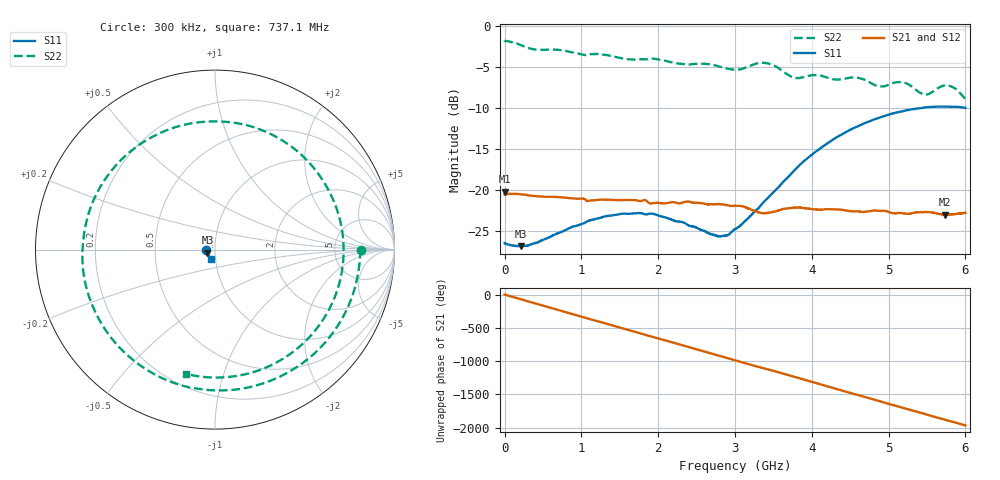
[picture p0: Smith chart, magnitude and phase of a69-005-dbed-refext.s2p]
!  3/18/2021  08:05:19
! Ref Plane: 13.288 mm
# MHZ S MA R  50
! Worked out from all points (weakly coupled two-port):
!   10001 points, 300 kHz to 6 GHz, reference 50 ohm
!   highest |S21| = -20.21 dB at 300 kHz (marker M1); lowest = -23.0 dB at 5.732 GHz (marker M2)
!   lowest |S11| = -26.8 dB at 214.5 MHz (marker M3), VSWR 1.10, Z = 45.9 - j1.53 ohm
!   |S11| at or under -10 dB: start of sweep to 5.433 GHz
!   |S22| runs from -8.9 to -1.8 dB; largest |S21 - S12| = 0.0022
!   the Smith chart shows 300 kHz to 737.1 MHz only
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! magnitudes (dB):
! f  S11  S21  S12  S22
! 300 kHz  -26.4  -20.2  -20.4  -1.8
! 214.5 MHz  -26.8  -20.5  -20.5  -2.4
! 396.9 MHz  -26.4  -20.7  -20.7  -2.9
! 1 GHz  -24.1  -21.0  -21.0  -3.5
! 1.532 GHz  -22.9  -21.2  -21.2  -4.0
! 2.001 GHz  -23.1  -21.5  -21.5  -4.1
! 2.776 GHz  -25.6  -21.7  -21.7  -4.9
! 2.897 GHz  -25.5  -21.8  -21.9  -5.2
! 3 GHz  -24.8  -21.9  -21.9  -5.3
! 3.384 GHz  -21.4  -22.8  -22.8  -4.5
! 3.767 GHz  -17.6  -22.1  -22.2  -6.3
! 4 GHz  -15.7  -22.3  -22.3  -6.0
! 4.317 GHz  -13.6  -22.4  -22.4  -6.5
! 4.506 GHz  -12.6  -22.6  -22.6  -6.3
! 4.651 GHz  -12.0  -22.7  -22.6  -6.4
! 4.865 GHz  -11.2  -22.5  -22.5  -7.3
! 5 GHz  -10.8  -22.7  -22.7  -7.2
! 5.206 GHz  -10.3  -22.9  -22.8  -6.9
! 5.483 GHz  -9.9  -22.7  -22.6  -8.4
! 5.732 GHz  -9.8  -23.0  -23.0  -7.2
! 5.855 GHz  -9.9  -22.9  -22.9  -7.6
! 6 GHz  -10.0  -22.8  -22.7  -8.9
